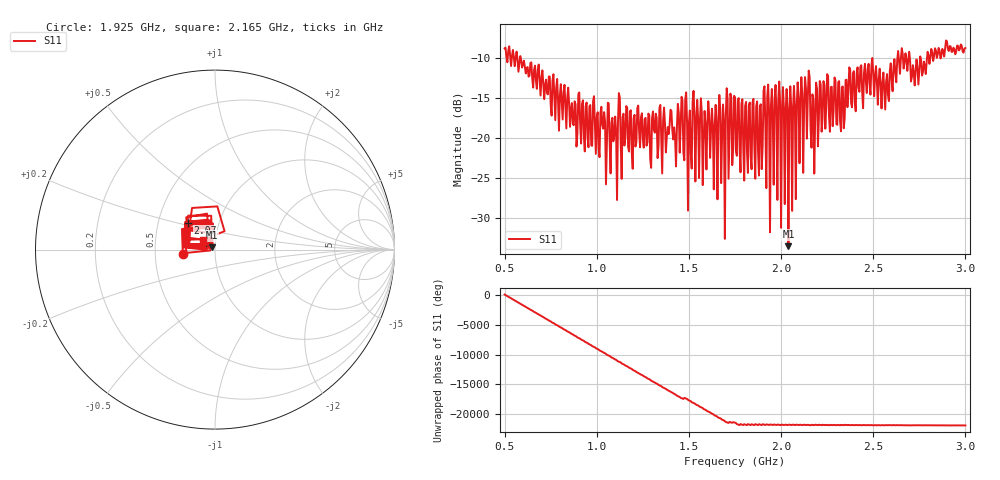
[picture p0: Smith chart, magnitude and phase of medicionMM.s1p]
# GHZ S RI R 50.000000000000
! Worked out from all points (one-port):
!   501 points, 500 MHz to 3 GHz, reference 50 ohm
!   lowest |S11| = -33.5 dB at 2.04 GHz (marker M1), VSWR 1.04, Z = 48.3 + j1.2 ohm
!   |S11| at or under -10 dB: 587.8 MHz to 2.495 GHz (1.907 GHz wide, 124 % of centre); 2.495 GHz to 2.631 GHz (136 MHz wide, 5.3 % of centre); 2.699 GHz to 2.754 GHz (55.59 MHz wide, 2.04 % of centre)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
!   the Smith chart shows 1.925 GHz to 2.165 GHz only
!   S11 on the Smith chart (normalised r, x): 1.925 GHz: 0.69, -0.04; 2.07 GHz: 0.71, +0.22; 2.165 GHz: 0.87, +0.09
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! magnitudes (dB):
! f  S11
! 500 MHz  -8.8
! 815 MHz  -17.6
! 1.125 GHz  -14.9
! 1.44 GHz  -15.7
! 1.505 GHz  -16.5
! 1.515 GHz  -23.8
! 1.585 GHz  -16.6
! 1.615 GHz  -22.4
! 1.645 GHz  -15.8
! 1.675 GHz  -25.6
! 1.685 GHz  -15.8
! 1.715 GHz  -25.0
! 1.75 GHz  -14.9
! 1.925 GHz  -14.8
! 1.95 GHz  -13.8
! 1.98 GHz  -27.7
! 2.01 GHz  -13.6
! 2.02 GHz  -28.2
! 2.03 GHz  -13.8
! 2.04 GHz  -33.5
! 2.05 GHz  -13.5
! 2.065 GHz  -16.4
! 2.07 GHz  -13.4
! 2.1 GHz  -23.1
! 2.165 GHz  -21.2
! 2.375 GHz  -11.4
! 2.69 GHz  -10.2
! 3 GHz  -8.7
